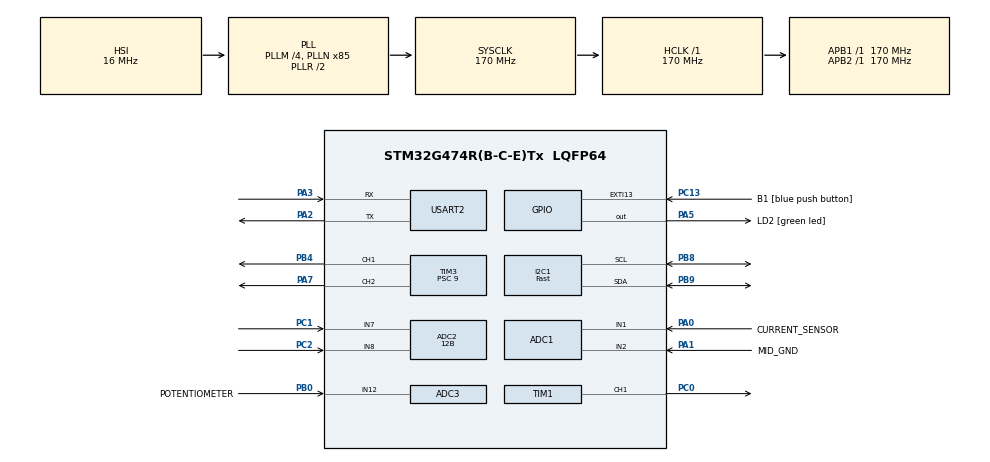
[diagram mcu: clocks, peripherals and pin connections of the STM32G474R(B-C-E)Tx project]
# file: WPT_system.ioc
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ADC1.Channel-1\#ChannelRegularConversion=ADC_CHANNEL_1
ADC1.ContinuousConvMode=DISABLE
ADC1.DMAContinuousRequests=DISABLE
ADC1.DataAlign=ADC_DATAALIGN_RIGHT
ADC1.EnableInjectedConversion=DISABLE
ADC1.ExternalTrigConv=ADC_EXTERNALTRIG_T1_CC1
ADC1.ExternalTrigConvEdge=ADC_EXTERNALTRIGCONVEDGE_RISINGFALLING
ADC1.GainCompensation=0
ADC1.NbrOfConversion=1
ADC1.NbrOfConversionFlag=1
ADC1.Offset-1\#ChannelRegularConversion=2325
ADC1.OffsetNumber-1\#ChannelRegularConversion=ADC_OFFSET_1
ADC1.Rank-1\#ChannelRegularConversion=1
ADC1.SamplingTime-1\#ChannelRegularConversion=ADC_SAMPLETIME_2CYCLES_5
ADC1.SingleDiff-1\#ChannelRegularConversion=ADC_DIFFERENTIAL_ENDED
ADC1.master=1
ADC2.Channel-2\#ChannelRegularConversion=ADC_CHANNEL_7
ADC2.DataAlign=ADC_DATAALIGN_RIGHT
ADC2.ExternalTrigConv=ADC_EXTERNALTRIG_T1_CC1
ADC2.ExternalTrigConvEdge=ADC_EXTERNALTRIGCONVEDGE_RISINGFALLING
ADC2.NbrOfConversionFlag=1
ADC2.Offset-2\#ChannelRegularConversion=2040
ADC2.OffsetNumber-2\#ChannelRegularConversion=ADC_OFFSET_1
ADC2.Rank-2\#ChannelRegularConversion=1
ADC2.Resolution=ADC_RESOLUTION_12B
ADC2.SamplingTime-2\#ChannelRegularConversion=ADC_SAMPLETIME_2CYCLES_5
ADC2.SingleDiff-2\#ChannelRegularConversion=ADC_DIFFERENTIAL_ENDED
ADC3.Channel-0\#ChannelRegularConversion=ADC_CHANNEL_12
ADC3.DataAlign=ADC_DATAALIGN_RIGHT
ADC3.NbrOfConversionFlag=1
ADC3.OffsetNumber-0\#ChannelRegularConversion=ADC_OFFSET_NONE
ADC3.Rank-0\#ChannelRegularConversion=1
ADC3.SamplingTime-0\#ChannelRegularConversion=ADC_SAMPLETIME_2CYCLES_5
ADC3.master=1
Dma.ADC1.0.Direction=DMA_PERIPH_TO_MEMORY
Dma.ADC1.0.EventEnable=DISABLE
Dma.ADC1.0.Instance=DMA1_Channel1
Dma.ADC1.0.MemDataAlignment=DMA_MDATAALIGN_HALFWORD
Dma.ADC1.0.MemInc=DMA_MINC_ENABLE
Dma.ADC1.0.Mode=DMA_NORMAL
Dma.ADC1.0.PeriphDataAlignment=DMA_PDATAALIGN_HALFWORD
Dma.ADC1.0.PeriphInc=DMA_PINC_DISABLE
Dma.ADC1.0.Polarity=HAL_DMAMUX_REQ_GEN_RISING
Dma.ADC1.0.Priority=DMA_PRIORITY_VERY_HIGH
Dma.ADC1.0.RequestNumber=1
Dma.ADC1.0.SignalID=NONE
Dma.ADC1.0.SyncEnable=DISABLE
Dma.ADC1.0.SyncPolarity=HAL_DMAMUX_SYNC_NO_EVENT
Dma.ADC1.0.SyncRequestNumber=1
Dma.ADC1.0.SyncSignalID=NONE
Dma.ADC2.1.Direction=DMA_PERIPH_TO_MEMORY
Dma.ADC2.1.EventEnable=DISABLE
Dma.ADC2.1.Instance=DMA2_Channel1
Dma.ADC2.1.MemDataAlignment=DMA_MDATAALIGN_HALFWORD
Dma.ADC2.1.MemInc=DMA_MINC_ENABLE
Dma.ADC2.1.Mode=DMA_NORMAL
Dma.ADC2.1.PeriphDataAlignment=DMA_PDATAALIGN_HALFWORD
Dma.ADC2.1.PeriphInc=DMA_PINC_DISABLE
Dma.ADC2.1.Polarity=HAL_DMAMUX_REQ_GEN_RISING
Dma.ADC2.1.Priority=DMA_PRIORITY_HIGH
Dma.ADC2.1.RequestNumber=1
Dma.ADC2.1.SignalID=NONE
Dma.ADC2.1.SyncEnable=DISABLE
Dma.ADC2.1.SyncPolarity=HAL_DMAMUX_SYNC_NO_EVENT
Dma.ADC2.1.SyncRequestNumber=1
Dma.ADC2.1.SyncSignalID=NONE
Dma.Request0=ADC1
Dma.Request1=ADC2
I2C1.Analog_Filter=I2C_ANALOGFILTER_DISABLE
I2C1.CustomTiming=Disabled
I2C1.I2C_Speed_Mode=I2C_Fast
I2C1.Speed=400
I2C1.Timing=0x108031A0
Mcu.Family=STM32G4
Mcu.Name=STM32G474R(B-C-E)Tx
Mcu.Package=LQFP64
NVIC.DMA1_Channel1_IRQn=true\:0\:0\:false\:false\:true\:false\:true\:true
NVIC.DMA2_Channel1_IRQn=true\:0\:0\:false\:false\:true\:false\:true\:true
NVIC.EXTI15_10_IRQn=true\:0\:0\:false\:false\:true\:true\:true\:true
NVIC.PriorityGroup=NVIC_PRIORITYGROUP_4
NVIC.TIM1_CC_IRQn=true\:0\:0\:false\:false\:true\:true\:true\:true
NVIC.TIM3_IRQn=true\:0\:0\:false\:false\:true\:true\:true\:true
PA0.GPIO_Label=CURRENT_SENSOR
PA0.Mode=IN1-Differential
PA0.Signal=ADC1_IN1
PA1.GPIO_Label=MID_GND
PA1.Mode=IN1-Differential
PA1.Signal=ADC1_IN2
PA13.GPIO_Label=T_SWDIO
PA13.Mode=JTAG_4_pins
PA13.Signal=SYS_JTMS-SWDIO
PA14.GPIO_Label=T_SWCLK
PA14.Mode=JTAG_4_pins
PA14.Signal=SYS_JTCK-SWCLK
PA15.Mode=JTAG_4_pins
PA15.Signal=SYS_JTDI
PA2.Mode=Asynchronous
PA2.Signal=USART2_TX
PA3.Mode=Asynchronous
PA3.Signal=USART2_RX
PA5.GPIO_Label=LD2 [green led]
PA5.Signal=GPIO_Output
PA7.GPIO_Speed=GPIO_SPEED_FREQ_HIGH
PA7.Signal=S_TIM3_CH2
PB0.GPIO_Label=POTENTIOMETER
PB0.Mode=IN12-Single-Ended
PB0.Signal=ADC3_IN12
PB3.Mode=JTAG_4_pins
PB3.Signal=SYS_JTDO-SWO
PB4.GPIO_PuPd=GPIO_PULLDOWN
PB4.GPIO_Speed=GPIO_SPEED_FREQ_HIGH
PB4.Signal=S_TIM3_CH1
PB8-BOOT0.Mode=I2C
PB8-BOOT0.Signal=I2C1_SCL
PB9.Mode=I2C
PB9.Signal=I2C1_SDA
PC0.Signal=S_TIM1_CH1
PC1.Mode=IN7-Differential
PC1.Signal=ADC2_IN7
PC13.GPIO_Label=B1 [blue push button]
PC13.Signal=GPXTI13
PC14-OSC32_IN.Mode=LSE-External-Oscillator
PC14-OSC32_IN.Signal=RCC_OSC32_IN
PC15-OSC32_OUT.Mode=LSE-External-Oscillator
PC15-OSC32_OUT.Signal=RCC_OSC32_OUT
PC2.Mode=IN7-Differential
PC2.Signal=ADC2_IN8
PF0-OSC_IN.Mode=HSE-External-Oscillator
PF0-OSC_IN.Signal=RCC_OSC_IN
PF1-OSC_OUT.Mode=HSE-External-Oscillator
PF1-OSC_OUT.Signal=RCC_OSC_OUT
ProjectManager.HeapSize=0x800
ProjectManager.StackSize=0x800
ProjectManager.TargetToolchain=STM32CubeIDE
RCC.ADC12Freq_Value=170000000
RCC.ADC345Freq_Value=170000000
RCC.AHBFreq_Value=170000000
RCC.APB1Freq_Value=170000000
RCC.APB1TimFreq_Value=170000000
RCC.APB2Freq_Value=170000000
RCC.APB2TimFreq_Value=170000000
RCC.CortexFreq_Value=170000000
RCC.EXTERNAL_CLOCK_VALUE=12288000
RCC.HCLKFreq_Value=170000000
RCC.HSE_VALUE=24000000
RCC.HSI48_VALUE=48000000
RCC.HSI_VALUE=16000000
RCC.PLLM=RCC_PLLM_DIV4
RCC.PLLN=85
RCC.RTCClockSelection=RCC_RTCCLKSOURCE_LSE
RCC.SYSCLKFreq_VALUE=170000000
RCC.SYSCLKSource=RCC_SYSCLKSOURCE_PLLCLK
RCC.USBFreq_Value=170000000
RCC.VCOOutputFreq_Value=340000000
SH.S_TIM1_CH1.0=TIM1_CH1,Output Compare1 CH1
SH.S_TIM3_CH1.0=TIM3_CH1,Output Compare1 CH1
SH.S_TIM3_CH2.0=TIM3_CH2,Output Compare2 CH2
STMicroelectronics.X-CUBE-AI.8.1.0.ActivationBufferSizeList=3828
STMicroelectronics.X-CUBE-AI.8.1.0.ActivationBuffers=pool0
STMicroelectronics.X-CUBE-AI.8.1.0.ActivationNames=pool0
STMicroelectronics.X-CUBE-AI.8.1.0.ActivationSizes=AI_NETWORK_DATA_ACTIVATION_1_SIZE
STMicroelectronics.X-CUBE-AI.8.1.0.HeapSize=0x800
STMicroelectronics.X-CUBE-AI.8.1.0.InternalRamActivationBufferMaxSize=AI_NETWORK_DATA_ACTIVATIONS_SIZE
STMicroelectronics.X-CUBE-AI.8.1.0.LatestDirectoryUsed-3ebb29efe24455d08ac401c08bdaad620ac2d7e26c9eb38f09bf857264b2c358=C\:\\Users\\thoma\\Documents\\GitHub\\Wireless-power-transfer-system_nucleo\\neural_network
STMicroelectronics.X-CUBE-AI.8.1.0.MaximumNumberOfInputLayer=1
STMicroelectronics.X-CUBE-AI.8.1.0.MaximumNumberOfOutputLayer=1
STMicroelectronics.X-CUBE-AI.8.1.0.MaximumSizeOfInputLayer=1
STMicroelectronics.X-CUBE-AI.8.1.0.MaximumSizeOfOutputLayer=1
STMicroelectronics.X-CUBE-AI.8.1.0.ModelActualCompression-3ebb29efe24455d08ac401c08bdaad620ac2d7e26c9eb38f09bf857264b2c358=0.0
STMicroelectronics.X-CUBE-AI.8.1.0.ModelCompression-3ebb29efe24455d08ac401c08bdaad620ac2d7e26c9eb38f09bf857264b2c358=None
STMicroelectronics.X-CUBE-AI.8.1.0.ModelFlashOccupation-3ebb29efe24455d08ac401c08bdaad620ac2d7e26c9eb38f09bf857264b2c358=226208
STMicroelectronics.X-CUBE-AI.8.1.0.ModelHashList=3ebb29efe24455d08ac401c08bdaad620ac2d7e26c9eb38f09bf857264b2c358
STMicroelectronics.X-CUBE-AI.8.1.0.ModelKind-3ebb29efe24455d08ac401c08bdaad620ac2d7e26c9eb38f09bf857264b2c358=ONNX
STMicroelectronics.X-CUBE-AI.8.1.0.ModelMacc-3ebb29efe24455d08ac401c08bdaad620ac2d7e26c9eb38f09bf857264b2c358=54274
STMicroelectronics.X-CUBE-AI.8.1.0.ModelName-3ebb29efe24455d08ac401c08bdaad620ac2d7e26c9eb38f09bf857264b2c358=network
STMicroelectronics.X-CUBE-AI.8.1.0.ModelNameList=network
STMicroelectronics.X-CUBE-AI.8.1.0.ModelRamOccupation-3ebb29efe24455d08ac401c08bdaad620ac2d7e26c9eb38f09bf857264b2c358=3828
STMicroelectronics.X-CUBE-AI.8.1.0.ModelStructureFile-3ebb29efe24455d08ac401c08bdaad620ac2d7e26c9eb38f09bf857264b2c358=C\:\\Users\\thoma\\Documents\\GitHub\\Wireless-power-transfer-system_nucleo\\neural_network\\model.onnx
STMicroelectronics.X-CUBE-AI.8.1.0.ModelType-3ebb29efe24455d08ac401c08bdaad620ac2d7e26c9eb38f09bf857264b2c358=Saved model
STMicroelectronics.X-CUBE-AI.8.1.0.ReadyForCodeGeneration=true
STMicroelectronics.X-CUBE-AI.8.1.0.StackSize=0x800
STMicroelectronics.X-CUBE-AI.8.1.0.WorkingBufferStartAddrList=0xFFFFFFFF
STMicroelectronics.X-CUBE-AI.8.1.0.XAaCUBEAaAICcArtificialOoIntelligenceJjCore=true
STMicroelectronics.X-CUBE-AI.8.1.0.copyWeightToRam=false
STMicroelectronics.X-CUBE-AI.8.1.0.copyWeightToRam-3ebb29efe24455d08ac401c08bdaad620ac2d7e26c9eb38f09bf857264b2c358=false
STMicroelectronics.X-CUBE-AI.8.1.0.customLayerConfigEnabled=false
STMicroelectronics.X-CUBE-AI.8.1.0.customLayerConfigEnabled-3ebb29efe24455d08ac401c08bdaad620ac2d7e26c9eb38f09bf857264b2c358=false
STMicroelectronics.X-CUBE-AI.8.1.0.noOnnxIoTranspose=false
STMicroelectronics.X-CUBE-AI.8.1.0.noOnnxIoTranspose-3ebb29efe24455d08ac401c08bdaad620ac2d7e26c9eb38f09bf857264b2c358=false
STMicroelectronics.X-CUBE-AI.8.1.0.useInputAllocation=true
STMicroelectronics.X-CUBE-AI.8.1.0.useInputAllocation-3ebb29efe24455d08ac401c08bdaad620ac2d7e26c9eb38f09bf857264b2c358=true
STMicroelectronics.X-CUBE-AI.8.1.0.useOutputAllocation=true
STMicroelectronics.X-CUBE-AI.8.1.0.useOutputAllocation-3ebb29efe24455d08ac401c08bdaad620ac2d7e26c9eb38f09bf857264b2c358=true
TIM1.AutoReloadPreload=TIM_AUTORELOAD_PRELOAD_ENABLE
TIM1.Channel-Output\ Compare1\ CH1=TIM_CHANNEL_1
TIM1.OC1Preload=ENABLE
TIM1.OCMode_1=TIM_OCMODE_TOGGLE
TIM1.PeriodNoDither=170-1
TIM1.TIM_MasterOutputTrigger=TIM_TRGO_UPDATE
TIM3.AutoReloadPreload=TIM_AUTORELOAD_PRELOAD_ENABLE
TIM3.Channel-Output\ Compare1\ CH1=TIM_CHANNEL_1
TIM3.Channel-Output\ Compare2\ CH2=TIM_CHANNEL_2
TIM3.OC1Preload=ENABLE
TIM3.OC2Preload=ENABLE
TIM3.OCMode_1=TIM_OCMODE_TOGGLE
TIM3.OCMode_2=TIM_OCMODE_TOGGLE
TIM3.PeriodNoDither=99
TIM3.Prescaler=9
USART2.VirtualMode-Asynchronous=VM_ASYNC
VP_CRC_VS_CRC.Mode=CRC_Activate
VP_STMicroelectronics.X-CUBE-AI_VS_ArtificialOoIntelligenceJjXAaCUBEAaAI_8.1.0.Mode=ArtificialOoIntelligenceJjXAaCUBEAaAI
VP_SYS_VS_DBSignals.Mode=DisableDeadBatterySignals
VP_TIM1_VS_ClockSourceINT.Mode=Internal
VP_TIM3_VS_ClockSourceINT.Mode=Internal
board=NUCLEO-G474RE

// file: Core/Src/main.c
/* USER CODE BEGIN Header */
/**
 ******************************************************************************
 * @file           : main.c
 * @brief          : Main program body
 ******************************************************************************
 * @attention
 *
 * Copyright (c) 2024 STMicroelectronics.
 * All rights reserved.
 *
 * This software is licensed under terms that can be found in the LICENSE file
 * in the root directory of this software component.
 * If no LICENSE file comes with this software, it is provided AS-IS.
 *
 ******************************************************************************
 */
/* USER CODE END Header */
#include "main.h"

/* USER CODE BEGIN Includes */
#include <stdint.h>
#include <stdio.h>
#include <stdlib.h>
#include <string.h>
// #include "../../Drivers/kiss_fft/kiss_fft.h"
// #include "../../Drivers/kiss_fft/kiss_fftr.h"
#define ARM_MATH_CM4
#include "arm_math.h"

// #include <math.h>
#include "../../X-CUBE-AI/App/network.h"
#include "../../X-CUBE-AI/App/network_data.h"
#include "../../Drivers/u8g2/u8g2.h"
/* USER CODE END Includes */

/* USER CODE BEGIN PD */
// #define PI 3.14159265358979323846264338327
#define SIG_BUFF_LEN 4096
#define FFT_BUFF_LEN (SIG_BUFF_LEN / 2)
#define OFFSET 6        // offset between I and V (6e-6 in this case)
#define Te 0.000001     // Sampling period
#define L1 0.000024     // Primary coil impedance in H
#define R1 0.075        // Coil ESR in Ohm
#define C1 0.000000146  // Capacitor value in F
#define SQRT_L1L2_uH 24 // sqrt of L1 * L2 in µH
#define Vcc 10          // V bus voltage in volt

#define Qi 6.6 / 494 / 0.001 * 1.42 * 32768 / (4095) // Current quantization factor in ampere per bit
#define Qv Vcc * 32768 / (2000)                      // Voltage quantization factor in volt per bit

#define DEVICE_ADDRESS 0b0111100
#define TX_TIMEOUT 100

// #define SEND_DATA

/* USER CODE END PD */

ADC_HandleTypeDef hadc1;
ADC_HandleTypeDef hadc2;
ADC_HandleTypeDef hadc3;
DMA_HandleTypeDef hdma_adc1;
DMA_HandleTypeDef hdma_adc2;

CRC_HandleTypeDef hcrc;

I2C_HandleTypeDef hi2c1;

TIM_HandleTypeDef htim1;
TIM_HandleTypeDef htim3;

UART_HandleTypeDef huart2;

/* USER CODE BEGIN PV */
volatile uint16_t PHASE_SHIFT = 0;
volatile uint8_t PRBS_ACTIVE = 0;
volatile uint16_t PRBS_period = (1 << 10) - 1;
volatile uint8_t BP_STATE_OLD = 0;
volatile uint8_t PRBS_AMPLITUDE = 20;
volatile uint8_t NOISE_ACTIVE = 0;
volatile uint8_t COMPUTE_ACTIVE = 0;

int16_t raw_current_sig[SIG_BUFF_LEN + OFFSET + 15];
int16_t raw_voltage_sig[SIG_BUFF_LEN + OFFSET + 15];
float_t current_sig[SIG_BUFF_LEN + OFFSET + 15];
float_t voltage_sig[SIG_BUFF_LEN + OFFSET + 15];
float_t fft_current[SIG_BUFF_LEN];
float_t fft_voltage[SIG_BUFF_LEN];
float_t impedance[2 * FFT_BUFF_LEN];

uint16_t index_list[] = {205, 221, 238, 257, 277, 299, 323, 348, 376, 405, 437, 471, 509, 549, 592};
uint8_t filtering_low_index_list[] = {11, 12, 13, 14, 15, 16, 18, 19, 21, 22, 24, 26, 28, 31, 33};
uint8_t filtering_high_index_list[] = {12, 13, 14, 15, 16, 17, 19, 20, 22, 24, 26, 28, 30, 32, 35};

arm_rfft_fast_instance_f32 fft_handler; // 32 floating point fft

/*################# AI declaration ################### */
/* Global handle to reference the instantiated C-model */
static ai_handle network = AI_HANDLE_NULL;

/* Global c-array to handle the activations buffer */
AI_ALIGNED(32)
static ai_u8 activations[AI_NETWORK_DATA_ACTIVATIONS_SIZE];

/* Array to store the data of the input tensor */
AI_ALIGNED(32)
static ai_float in_data[AI_NETWORK_IN_1_SIZE];
/* or static ai_u8 in_data[AI_NETWORK_IN_1_SIZE_BYTES]; */

/* c-array to store the data of the output tensor */
AI_ALIGNED(32)
static ai_float out_data[AI_NETWORK_OUT_1_SIZE];
/*or static ai_u8 out_data[AI_NETWORK_OUT_1_SIZE_BYTES]; */

/* Array of pointer to manage the model's input/output tensors */
static ai_buffer *ai_input;
static ai_buffer *ai_output;

static u8g2_t u8g2;

/* USER CODE END PV */

void SystemClock_Config(void);
static void MX_GPIO_Init(void);
static void MX_DMA_Init(void);
static void MX_ADC1_Init(void);
static void MX_TIM3_Init(void);
static void MX_CRC_Init(void);
static void MX_ADC3_Init(void);
static void MX_TIM1_Init(void);
static void MX_ADC2_Init(void);
static void MX_USART2_UART_Init(void);
static void MX_I2C1_Init(void);
/* USER CODE BEGIN PFP */

static int8_t PRBS();

int aiInit(void);
int aiRun(const void *in_data, void *out_data);

float_t delinearize_R(float_t);
float_t delinearize_M(float_t);

u8x8_msg_cb u8x8_stm32_gpio_and_delay(u8x8_t *, uint8_t, uint8_t, void *);
u8x8_msg_cb u8x8_byte_stm32_hw_i2c(u8x8_t *, uint8_t, uint8_t, void *);

void display_oled(float_t, float_t);

/* USER CODE END PFP */

int main(void)
{

  /* MCU Configuration--------------------------------------------------------*/

  /* Reset of all peripherals, Initializes the Flash interface and the Systick. */
  HAL_Init();

  /* Configure the system clock */
  SystemClock_Config();

  /* Initialize all configured peripherals */
  MX_GPIO_Init();
  MX_DMA_Init();
  MX_ADC1_Init();
  MX_TIM3_Init();
  MX_CRC_Init();
  MX_ADC3_Init();
  MX_TIM1_Init();
  MX_ADC2_Init();
  MX_USART2_UART_Init();
  MX_I2C1_Init();
  /* USER CODE BEGIN 2 */

  HAL_ADCEx_Calibration_Start(&hadc3, POTENTIOMETER_Pin);

  __HAL_RCC_CRC_CLK_ENABLE();

  arm_rfft_fast_init_f32(&fft_handler, SIG_BUFF_LEN);

  aiInit();

  u8g2_Setup_ssd1306_i2c_128x64_noname_1(&u8g2, U8G2_R0, (u8x8_msg_cb)u8x8_byte_stm32_hw_i2c, (u8x8_msg_cb)u8x8_stm32_gpio_and_delay); // init u8g2 structure
  u8g2_InitDisplay(&u8g2);                                                                                                             // send init sequence to the display, display is in sleep mode after this,
  u8g2_SetPowerSave(&u8g2, 0);                                                                                                         // wake up display
  u8g2_ClearDisplay(&u8g2);
  u8g2_SetFont(&u8g2, u8g2_font_6x13_mf);
  do
  {
    u8g2_DrawStr(&u8g2, 6, 14, "Press USER to start");
    u8g2_DrawFrame(&u8g2, 50 - 12, 35 - 12, 25, 25);
    u8g2_DrawCircle(&u8g2, 50, 35, 8, U8G2_DRAW_ALL);
    u8g2_DrawLine(&u8g2, 68, 35, 95, 35);
    u8g2_DrawLine(&u8g2, 68, 35, 78, 30);
    u8g2_DrawLine(&u8g2, 68, 35, 78, 40);
    u8g2_DrawStr(&u8g2, 39, 60, "USER");
  } while (u8g2_NextPage(&u8g2));

  /* USER CODE END 2 */

  /* Infinite loop */
  /* USER CODE BEGIN WHILE */
  while (1)
  {
    // State machine to control the identification prcedure
    if (!PRBS_ACTIVE)
    {
      // Read Potentiometer to set phase shift
      HAL_ADC_Start(&hadc3);
      HAL_ADC_PollForConversion(&hadc3, 1);
      uint16_t ADC_VAL = HAL_ADC_GetValue(&hadc3);
      PHASE_SHIFT = ADC_VAL * 100 / (1 << 12);
      HAL_Delay(1);
    }

    if (HAL_GPIO_ReadPin(B1_GPIO_Port, B1_Pin) & !BP_STATE_OLD & !COMPUTE_ACTIVE)
    {

      u8g2_ClearDisplay(&u8g2);
      u8g2_SetFont(&u8g2, u8g2_font_6x13_mf);
      do
      {
        u8g2_DrawStr(&u8g2, 5, 30, "Computing parameters");
        u8g2_DrawStr(&u8g2, 24, 50, "Please wait...");
      } while (u8g2_NextPage(&u8g2));

      PRBS_ACTIVE = 1;
      BP_STATE_OLD = 1;
    }
    else if ((!HAL_GPIO_ReadPin(B1_GPIO_Port, B1_Pin)) & (BP_STATE_OLD))
    {

      BP_STATE_OLD = 0;
    }
    if (COMPUTE_ACTIVE)
    {

      /* 			Signals	Scaling			*/

      HAL_GPIO_WritePin(LD2_GPIO_Port, LD2_Pin, ENABLE);

      arm_q15_to_float(raw_current_sig, current_sig, SIG_BUFF_LEN + OFFSET + 15);
      arm_q15_to_float(raw_voltage_sig, voltage_sig, SIG_BUFF_LEN + OFFSET + 15);

      arm_scale_f32(current_sig, Qi, current_sig, SIG_BUFF_LEN + OFFSET + 15);
      arm_scale_f32(voltage_sig, Qv, voltage_sig, SIG_BUFF_LEN + OFFSET + 15);

      HAL_GPIO_WritePin(LD2_GPIO_Port, LD2_Pin, DISABLE);

      /* 			Send the signals via UART		*/

#ifdef SEND_DATA
		char message[100];
		sprintf(message, "index,nc,nv\n");
		HAL_UART_Transmit(&huart2,(uint8_t *) message, strlen(message), 100);
		for(uint16_t i = 0; i <SIG_BUFF_LEN; i++){
			sprintf(message, "%d,%f,%f\n",i, current_sig[i+OFFSET+5],voltage_sig[i+5]);
			// sprintf(message, "%d,%ld,%ld\n",i, raw_current_sig[i+OFFSET+5],raw_voltage_sig[i+5]);
			HAL_UART_Transmit(&huart2, (uint8_t *) message, strlen(message), 100);
		}
#endif

      /* 			Compute FFT of the signals			*/

      arm_rfft_fast_f32(&fft_handler, (float_t *)current_sig + OFFSET + 5, fft_current, 0);
      arm_rfft_fast_f32(&fft_handler, (float_t *)voltage_sig + 5, fft_voltage, 0);

      /* 			Computing of the raw impedance			*/

      HAL_GPIO_WritePin(LD2_GPIO_Port, LD2_Pin, ENABLE);

      for (int i = 0; i < FFT_BUFF_LEN; i++)
      {
        float_t v_r = fft_voltage[2 * i];
        float_t v_i = fft_voltage[2 * i + 1];
        float_t c_r = fft_current[2 * i];
        float_t c_i = fft_current[2 * i + 1];
        float_t norm = c_r * c_r + c_i * c_i;
        impedance[2 * i] = (v_r * c_r + v_i * c_i) / norm;
        impedance[2 * i + 1] = (v_i * c_r - v_r * c_i) / norm;
      }

      HAL_GPIO_WritePin(LD2_GPIO_Port, LD2_Pin, DISABLE);

      /* 				Send the impedance via UART			*/

#ifdef SEND_DATA
		HAL_Delay(500);
		sprintf(message, "index,impedance_r,impedance_i\n");
		HAL_UART_Transmit(&huart2, (uint8_t *)message, strlen(message), 100);
		for (uint16_t i = 0; i < FFT_BUFF_LEN; i++)
		{
		  sprintf(message, "%d,%f,%f\n", i, impedance[2*i], impedance[2*i+1]);
		  HAL_UART_Transmit(&huart2, (uint8_t *)message, strlen(message), 100);
		}
#endif

      /* 				Compute the input tensor				*/

      for (uint16_t i = 0; i < 15; i++)
      {
        in_data[i * 2] = 0;
        in_data[i * 2 + 1] = 0;
        for (int j = index_list[i] - filtering_low_index_list[i]; j < index_list[i] + filtering_high_index_list[i] + 1; j++)
        {
          float_t mag;
          arm_sqrt_f32(impedance[2 * j] * impedance[2 * j] + impedance[2 * j + 1] * impedance[2 * j + 1], &mag);
          in_data[i * 2] += mag;
          in_data[i * 2 + 1] += (impedance[2 * j] == 0) ? PI * (signbit((float_t)impedance[2 * j + 1]) * -1) : atan2(impedance[2 * j + 1], impedance[2 * j]);
        }
        in_data[i * 2] /= (filtering_low_index_list[i] + filtering_high_index_list[i] + 1);
        in_data[i * 2 + 1] /= (filtering_low_index_list[i] + filtering_high_index_list[i] + 1);
      }

      /* 			Send the input tensor via UART				*/

#ifdef SEND_DATA
		HAL_Delay(500);
		sprintf(message, "index,value\n");
		HAL_UART_Transmit(&huart2, (uint8_t *)message, strlen(message), 100);
		for (uint16_t i = 0; i < 30; i++)
		{
		  sprintf(message, "%d,%f\n", i , in_data[i]);
		  HAL_UART_Transmit(&huart2, (uint8_t *)message, strlen(message), 100);

		}
#endif

      /* 			Compute neural network inference			*/

      HAL_GPIO_WritePin(LD2_GPIO_Port, LD2_Pin, ENABLE);
      aiRun(in_data, out_data);

      float_t R_lin = out_data[0];
      float_t M_lin = out_data[1];

      float_t R = delinearize_R(R_lin);
      float_t M = delinearize_M(M_lin);
      HAL_GPIO_WritePin(LD2_GPIO_Port, LD2_Pin, DISABLE);
      display_oled(R, M);

      COMPUTE_ACTIVE = 0;
    }
    /* USER CODE END WHILE */

  }
}

void SystemClock_Config(void)
{
  RCC_OscInitTypeDef RCC_OscInitStruct = {0};
  RCC_ClkInitTypeDef RCC_ClkInitStruct = {0};

  /** Configure the main internal regulator output voltage
   */
  HAL_PWREx_ControlVoltageScaling(PWR_REGULATOR_VOLTAGE_SCALE1_BOOST);

  /** Initializes the RCC Oscillators according to the specified parameters
   * in the RCC_OscInitTypeDef structure.
   */
  RCC_OscInitStruct.OscillatorType = RCC_OSCILLATORTYPE_HSI;
  RCC_OscInitStruct.HSIState = RCC_HSI_ON;
  RCC_OscInitStruct.HSICalibrationValue = RCC_HSICALIBRATION_DEFAULT;
  RCC_OscInitStruct.PLL.PLLState = RCC_PLL_ON;
  RCC_OscInitStruct.PLL.PLLSource = RCC_PLLSOURCE_HSI;
  RCC_OscInitStruct.PLL.PLLM = RCC_PLLM_DIV4;
  RCC_OscInitStruct.PLL.PLLN = 85;
  RCC_OscInitStruct.PLL.PLLP = RCC_PLLP_DIV2;
  RCC_OscInitStruct.PLL.PLLQ = RCC_PLLQ_DIV2;
  RCC_OscInitStruct.PLL.PLLR = RCC_PLLR_DIV2;
  if (HAL_RCC_OscConfig(&RCC_OscInitStruct) != HAL_OK)
  {
    Error_Handler();
  }

  /** Initializes the CPU, AHB and APB buses clocks
   */
  RCC_ClkInitStruct.ClockType = RCC_CLOCKTYPE_HCLK | RCC_CLOCKTYPE_SYSCLK | RCC_CLOCKTYPE_PCLK1 | RCC_CLOCKTYPE_PCLK2;
  RCC_ClkInitStruct.SYSCLKSource = RCC_SYSCLKSOURCE_PLLCLK;
  RCC_ClkInitStruct.AHBCLKDivider = RCC_SYSCLK_DIV1;
  RCC_ClkInitStruct.APB1CLKDivider = RCC_HCLK_DIV1;
  RCC_ClkInitStruct.APB2CLKDivider = RCC_HCLK_DIV1;

  if (HAL_RCC_ClockConfig(&RCC_ClkInitStruct, FLASH_LATENCY_4) != HAL_OK)
  {
    Error_Handler();
  }
}

static void MX_ADC1_Init(void)
{

  ADC_MultiModeTypeDef multimode = {0};
  ADC_ChannelConfTypeDef sConfig = {0};

  /** Common config
   */
  hadc1.Instance = ADC1;
  hadc1.Init.ClockPrescaler = ADC_CLOCK_SYNC_PCLK_DIV4;
  hadc1.Init.Resolution = ADC_RESOLUTION_12B;
  hadc1.Init.DataAlign = ADC_DATAALIGN_RIGHT;
  hadc1.Init.GainCompensation = 0;
  hadc1.Init.ScanConvMode = ADC_SCAN_DISABLE;
  hadc1.Init.EOCSelection = ADC_EOC_SINGLE_CONV;
  hadc1.Init.LowPowerAutoWait = DISABLE;
  hadc1.Init.ContinuousConvMode = DISABLE;
  hadc1.Init.NbrOfConversion = 1;
  hadc1.Init.DiscontinuousConvMode = DISABLE;
  hadc1.Init.ExternalTrigConv = ADC_EXTERNALTRIG_T1_CC1;
  hadc1.Init.ExternalTrigConvEdge = ADC_EXTERNALTRIGCONVEDGE_RISINGFALLING;
  hadc1.Init.DMAContinuousRequests = DISABLE;
  hadc1.Init.Overrun = ADC_OVR_DATA_PRESERVED;
  hadc1.Init.OversamplingMode = DISABLE;
  if (HAL_ADC_Init(&hadc1) != HAL_OK)
  {
    Error_Handler();
  }

  /** Configure the ADC multi-mode
   */
  multimode.Mode = ADC_MODE_INDEPENDENT;
  if (HAL_ADCEx_MultiModeConfigChannel(&hadc1, &multimode) != HAL_OK)
  {
    Error_Handler();
  }

  /** Configure Regular Channel
   */
  sConfig.Channel = ADC_CHANNEL_1;
  sConfig.Rank = ADC_REGULAR_RANK_1;
  sConfig.SamplingTime = ADC_SAMPLETIME_2CYCLES_5;
  sConfig.SingleDiff = ADC_DIFFERENTIAL_ENDED;
  sConfig.OffsetNumber = ADC_OFFSET_1;
  sConfig.Offset = 2325;
  sConfig.OffsetSign = ADC_OFFSET_SIGN_NEGATIVE;
  sConfig.OffsetSaturation = DISABLE;
  if (HAL_ADC_ConfigChannel(&hadc1, &sConfig) != HAL_OK)
  {
    Error_Handler();
  }
}

static void MX_ADC2_Init(void)
{

  ADC_ChannelConfTypeDef sConfig = {0};

  /** Common config
   */
  hadc2.Instance = ADC2;
  hadc2.Init.ClockPrescaler = ADC_CLOCK_SYNC_PCLK_DIV4;
  hadc2.Init.Resolution = ADC_RESOLUTION_12B;
  hadc2.Init.DataAlign = ADC_DATAALIGN_RIGHT;
  hadc2.Init.GainCompensation = 0;
  hadc2.Init.ScanConvMode = ADC_SCAN_DISABLE;
  hadc2.Init.EOCSelection = ADC_EOC_SINGLE_CONV;
  hadc2.Init.LowPowerAutoWait = DISABLE;
  hadc2.Init.ContinuousConvMode = DISABLE;
  hadc2.Init.NbrOfConversion = 1;
  hadc2.Init.DiscontinuousConvMode = DISABLE;
  hadc2.Init.ExternalTrigConv = ADC_EXTERNALTRIG_T1_CC1;
  hadc2.Init.ExternalTrigConvEdge = ADC_EXTERNALTRIGCONVEDGE_RISINGFALLING;
  hadc2.Init.DMAContinuousRequests = DISABLE;
  hadc2.Init.Overrun = ADC_OVR_DATA_PRESERVED;
  hadc2.Init.OversamplingMode = DISABLE;
  if (HAL_ADC_Init(&hadc2) != HAL_OK)
  {
    Error_Handler();
  }

  /** Configure Regular Channel
   */
  sConfig.Channel = ADC_CHANNEL_7;
  sConfig.Rank = ADC_REGULAR_RANK_1;
  sConfig.SamplingTime = ADC_SAMPLETIME_2CYCLES_5;
  sConfig.SingleDiff = ADC_DIFFERENTIAL_ENDED;
  sConfig.OffsetNumber = ADC_OFFSET_1;
  sConfig.Offset = 2040;
  sConfig.OffsetSign = ADC_OFFSET_SIGN_NEGATIVE;
  sConfig.OffsetSaturation = DISABLE;
  if (HAL_ADC_ConfigChannel(&hadc2, &sConfig) != HAL_OK)
  {
    Error_Handler();
  }
}

static void MX_ADC3_Init(void)
{

  ADC_MultiModeTypeDef multimode = {0};
  ADC_ChannelConfTypeDef sConfig = {0};

  /** Common config
   */
  hadc3.Instance = ADC3;
  hadc3.Init.ClockPrescaler = ADC_CLOCK_SYNC_PCLK_DIV4;
  hadc3.Init.Resolution = ADC_RESOLUTION_12B;
  hadc3.Init.DataAlign = ADC_DATAALIGN_RIGHT;
  hadc3.Init.GainCompensation = 0;
  hadc3.Init.ScanConvMode = ADC_SCAN_DISABLE;
  hadc3.Init.EOCSelection = ADC_EOC_SINGLE_CONV;
  hadc3.Init.LowPowerAutoWait = DISABLE;
  hadc3.Init.ContinuousConvMode = DISABLE;
  hadc3.Init.NbrOfConversion = 1;
  hadc3.Init.DiscontinuousConvMode = DISABLE;
  hadc3.Init.ExternalTrigConv = ADC_SOFTWARE_START;
  hadc3.Init.ExternalTrigConvEdge = ADC_EXTERNALTRIGCONVEDGE_NONE;
  hadc3.Init.DMAContinuousRequests = DISABLE;
  hadc3.Init.Overrun = ADC_OVR_DATA_PRESERVED;
  hadc3.Init.OversamplingMode = DISABLE;
  if (HAL_ADC_Init(&hadc3) != HAL_OK)
  {
    Error_Handler();
  }

  /** Configure the ADC multi-mode
   */
  multimode.Mode = ADC_MODE_INDEPENDENT;
  if (HAL_ADCEx_MultiModeConfigChannel(&hadc3, &multimode) != HAL_OK)
  {
    Error_Handler();
  }

  /** Configure Regular Channel
   */
  sConfig.Channel = ADC_CHANNEL_12;
  sConfig.Rank = ADC_REGULAR_RANK_1;
  sConfig.SamplingTime = ADC_SAMPLETIME_2CYCLES_5;
  sConfig.SingleDiff = ADC_SINGLE_ENDED;
  sConfig.OffsetNumber = ADC_OFFSET_NONE;
  sConfig.Offset = 0;
  if (HAL_ADC_ConfigChannel(&hadc3, &sConfig) != HAL_OK)
  {
    Error_Handler();
  }
}

static void MX_CRC_Init(void)
{

  hcrc.Instance = CRC;
  hcrc.Init.DefaultPolynomialUse = DEFAULT_POLYNOMIAL_ENABLE;
  hcrc.Init.DefaultInitValueUse = DEFAULT_INIT_VALUE_ENABLE;
  hcrc.Init.InputDataInversionMode = CRC_INPUTDATA_INVERSION_NONE;
  hcrc.Init.OutputDataInversionMode = CRC_OUTPUTDATA_INVERSION_DISABLE;
  hcrc.InputDataFormat = CRC_INPUTDATA_FORMAT_BYTES;
  if (HAL_CRC_Init(&hcrc) != HAL_OK)
  {
    Error_Handler();
  }
}

static void MX_I2C1_Init(void)
{

  hi2c1.Instance = I2C1;
  hi2c1.Init.Timing = 0x108031A0;
  hi2c1.Init.OwnAddress1 = 0;
  hi2c1.Init.AddressingMode = I2C_ADDRESSINGMODE_7BIT;
  hi2c1.Init.DualAddressMode = I2C_DUALADDRESS_DISABLE;
  hi2c1.Init.OwnAddress2 = 0;
  hi2c1.Init.OwnAddress2Masks = I2C_OA2_NOMASK;
  hi2c1.Init.GeneralCallMode = I2C_GENERALCALL_DISABLE;
  hi2c1.Init.NoStretchMode = I2C_NOSTRETCH_DISABLE;
  if (HAL_I2C_Init(&hi2c1) != HAL_OK)
  {
    Error_Handler();
  }

  /** Configure Analogue filter
   */
  if (HAL_I2CEx_ConfigAnalogFilter(&hi2c1, I2C_ANALOGFILTER_DISABLE) != HAL_OK)
  {
    Error_Handler();
  }

  /** Configure Digital filter
   */
  if (HAL_I2CEx_ConfigDigitalFilter(&hi2c1, 0) != HAL_OK)
  {
    Error_Handler();
  }
}

static void MX_TIM1_Init(void)
{

  TIM_ClockConfigTypeDef sClockSourceConfig = {0};
  TIM_MasterConfigTypeDef sMasterConfig = {0};
  TIM_OC_InitTypeDef sConfigOC = {0};
  TIM_BreakDeadTimeConfigTypeDef sBreakDeadTimeConfig = {0};

  htim1.Instance = TIM1;
  htim1.Init.Prescaler = 0;
  htim1.Init.CounterMode = TIM_COUNTERMODE_UP;
  htim1.Init.Period = 169;
  htim1.Init.ClockDivision = TIM_CLOCKDIVISION_DIV1;
  htim1.Init.RepetitionCounter = 0;
  htim1.Init.AutoReloadPreload = TIM_AUTORELOAD_PRELOAD_ENABLE;
  if (HAL_TIM_Base_Init(&htim1) != HAL_OK)
  {
    Error_Handler();
  }
  sClockSourceConfig.ClockSource = TIM_CLOCKSOURCE_INTERNAL;
  if (HAL_TIM_ConfigClockSource(&htim1, &sClockSourceConfig) != HAL_OK)
  {
    Error_Handler();
  }
  if (HAL_TIM_OC_Init(&htim1) != HAL_OK)
  {
    Error_Handler();
  }
  sMasterConfig.MasterOutputTrigger = TIM_TRGO_UPDATE;
  sMasterConfig.MasterOutputTrigger2 = TIM_TRGO2_RESET;
  sMasterConfig.MasterSlaveMode = TIM_MASTERSLAVEMODE_DISABLE;
  if (HAL_TIMEx_MasterConfigSynchronization(&htim1, &sMasterConfig) != HAL_OK)
  {
    Error_Handler();
  }
  sConfigOC.OCMode = TIM_OCMODE_TOGGLE;
  sConfigOC.Pulse = 0;
  sConfigOC.OCPolarity = TIM_OCPOLARITY_HIGH;
  sConfigOC.OCNPolarity = TIM_OCNPOLARITY_HIGH;
  sConfigOC.OCFastMode = TIM_OCFAST_DISABLE;
  sConfigOC.OCIdleState = TIM_OCIDLESTATE_RESET;
  sConfigOC.OCNIdleState = TIM_OCNIDLESTATE_RESET;
  if (HAL_TIM_OC_ConfigChannel(&htim1, &sConfigOC, TIM_CHANNEL_1) != HAL_OK)
  {
    Error_Handler();
  }
  __HAL_TIM_ENABLE_OCxPRELOAD(&htim1, TIM_CHANNEL_1);
  sBreakDeadTimeConfig.OffStateRunMode = TIM_OSSR_DISABLE;
  sBreakDeadTimeConfig.OffStateIDLEMode = TIM_OSSI_DISABLE;
  sBreakDeadTimeConfig.LockLevel = TIM_LOCKLEVEL_OFF;
  sBreakDeadTimeConfig.DeadTime = 0;
  sBreakDeadTimeConfig.BreakState = TIM_BREAK_DISABLE;
  sBreakDeadTimeConfig.BreakPolarity = TIM_BREAKPOLARITY_HIGH;
  sBreakDeadTimeConfig.BreakFilter = 0;
  sBreakDeadTimeConfig.BreakAFMode = TIM_BREAK_AFMODE_INPUT;
  sBreakDeadTimeConfig.Break2State = TIM_BREAK2_DISABLE;
  sBreakDeadTimeConfig.Break2Polarity = TIM_BREAK2POLARITY_HIGH;
  sBreakDeadTimeConfig.Break2Filter = 0;
  sBreakDeadTimeConfig.Break2AFMode = TIM_BREAK_AFMODE_INPUT;
  sBreakDeadTimeConfig.AutomaticOutput = TIM_AUTOMATICOUTPUT_DISABLE;
  if (HAL_TIMEx_ConfigBreakDeadTime(&htim1, &sBreakDeadTimeConfig) != HAL_OK)
  {
    Error_Handler();
  }
  HAL_TIM_MspPostInit(&htim1);
}

static void MX_TIM3_Init(void)
{

  TIM_ClockConfigTypeDef sClockSourceConfig = {0};
  TIM_MasterConfigTypeDef sMasterConfig = {0};
  TIM_OC_InitTypeDef sConfigOC = {0};

  htim3.Instance = TIM3;
  htim3.Init.Prescaler = 9;
  htim3.Init.CounterMode = TIM_COUNTERMODE_UP;
  htim3.Init.Period = 99;
  htim3.Init.ClockDivision = TIM_CLOCKDIVISION_DIV1;
  htim3.Init.AutoReloadPreload = TIM_AUTORELOAD_PRELOAD_ENABLE;
  if (HAL_TIM_Base_Init(&htim3) != HAL_OK)
  {
    Error_Handler();
  }
  sClockSourceConfig.ClockSource = TIM_CLOCKSOURCE_INTERNAL;
  if (HAL_TIM_ConfigClockSource(&htim3, &sClockSourceConfig) != HAL_OK)
  {
    Error_Handler();
  }
  if (HAL_TIM_OC_Init(&htim3) != HAL_OK)
  {
    Error_Handler();
  }
  sMasterConfig.MasterOutputTrigger = TIM_TRGO_RESET;
  sMasterConfig.MasterSlaveMode = TIM_MASTERSLAVEMODE_DISABLE;
  if (HAL_TIMEx_MasterConfigSynchronization(&htim3, &sMasterConfig) != HAL_OK)
  {
    Error_Handler();
  }
  sConfigOC.OCMode = TIM_OCMODE_TOGGLE;
  sConfigOC.Pulse = 0;
  sConfigOC.OCPolarity = TIM_OCPOLARITY_HIGH;
  sConfigOC.OCFastMode = TIM_OCFAST_DISABLE;
  if (HAL_TIM_OC_ConfigChannel(&htim3, &sConfigOC, TIM_CHANNEL_1) != HAL_OK)
  {
    Error_Handler();
  }
  __HAL_TIM_ENABLE_OCxPRELOAD(&htim3, TIM_CHANNEL_1);
  if (HAL_TIM_OC_ConfigChannel(&htim3, &sConfigOC, TIM_CHANNEL_2) != HAL_OK)
  {
    Error_Handler();
  }
  __HAL_TIM_ENABLE_OCxPRELOAD(&htim3, TIM_CHANNEL_2);
  /* USER CODE BEGIN TIM3_Init 2 */

  HAL_TIM_Base_Start(&htim3);
  HAL_TIM_OC_Start_IT(&htim3, TIM_CHANNEL_1);
  HAL_TIM_OC_Start(&htim3, TIM_CHANNEL_2);

  /* USER CODE END TIM3_Init 2 */
  HAL_TIM_MspPostInit(&htim3);
}

static void MX_USART2_UART_Init(void)
{

  huart2.Instance = USART2;
  huart2.Init.BaudRate = 115200;
  huart2.Init.WordLength = UART_WORDLENGTH_8B;
  huart2.Init.StopBits = UART_STOPBITS_1;
  huart2.Init.Parity = UART_PARITY_NONE;
  huart2.Init.Mode = UART_MODE_TX_RX;
  huart2.Init.HwFlowCtl = UART_HWCONTROL_NONE;
  huart2.Init.OverSampling = UART_OVERSAMPLING_16;
  huart2.Init.OneBitSampling = UART_ONE_BIT_SAMPLE_DISABLE;
  huart2.Init.ClockPrescaler = UART_PRESCALER_DIV1;
  huart2.AdvancedInit.AdvFeatureInit = UART_ADVFEATURE_NO_INIT;
  if (HAL_UART_Init(&huart2) != HAL_OK)
  {
    Error_Handler();
  }
  if (HAL_UARTEx_SetTxFifoThreshold(&huart2, UART_TXFIFO_THRESHOLD_1_8) != HAL_OK)
  {
    Error_Handler();
  }
  if (HAL_UARTEx_SetRxFifoThreshold(&huart2, UART_RXFIFO_THRESHOLD_1_8) != HAL_OK)
  {
    Error_Handler();
  }
  if (HAL_UARTEx_DisableFifoMode(&huart2) != HAL_OK)
  {
    Error_Handler();
  }
}

static void MX_DMA_Init(void)
{

  /* DMA controller clock enable */
  __HAL_RCC_DMAMUX1_CLK_ENABLE();
  __HAL_RCC_DMA1_CLK_ENABLE();
  __HAL_RCC_DMA2_CLK_ENABLE();

  /* DMA interrupt init */
  /* DMA1_Channel1_IRQn interrupt configuration */
  HAL_NVIC_SetPriority(DMA1_Channel1_IRQn, 0, 0);
  HAL_NVIC_EnableIRQ(DMA1_Channel1_IRQn);
  /* DMA2_Channel1_IRQn interrupt configuration */
  HAL_NVIC_SetPriority(DMA2_Channel1_IRQn, 0, 0);
  HAL_NVIC_EnableIRQ(DMA2_Channel1_IRQn);
}

static void MX_GPIO_Init(void)
{
  GPIO_InitTypeDef GPIO_InitStruct = {0};

  /* GPIO Ports Clock Enable */
  __HAL_RCC_GPIOC_CLK_ENABLE();
  __HAL_RCC_GPIOF_CLK_ENABLE();
  __HAL_RCC_GPIOA_CLK_ENABLE();
  __HAL_RCC_GPIOB_CLK_ENABLE();

  /*Configure GPIO pin Output Level */
  HAL_GPIO_WritePin(LD2_GPIO_Port, LD2_Pin, GPIO_PIN_RESET);

  /*Configure GPIO pin : B1_Pin */
  GPIO_InitStruct.Pin = B1_Pin;
  GPIO_InitStruct.Mode = GPIO_MODE_IT_RISING;
  GPIO_InitStruct.Pull = GPIO_NOPULL;
  HAL_GPIO_Init(B1_GPIO_Port, &GPIO_InitStruct);

  /*Configure GPIO pin : LD2_Pin */
  GPIO_InitStruct.Pin = LD2_Pin;
  GPIO_InitStruct.Mode = GPIO_MODE_OUTPUT_PP;
  GPIO_InitStruct.Pull = GPIO_NOPULL;
  GPIO_InitStruct.Speed = GPIO_SPEED_FREQ_LOW;
  HAL_GPIO_Init(LD2_GPIO_Port, &GPIO_InitStruct);

  /* EXTI interrupt init*/
  HAL_NVIC_SetPriority(EXTI15_10_IRQn, 0, 0);
  HAL_NVIC_EnableIRQ(EXTI15_10_IRQn);

}

/* USER CODE BEGIN 4 */
void HAL_TIM_OC_DelayElapsedCallback(TIM_HandleTypeDef *htim)
{
  if (htim->Instance == TIM3 && htim->Channel == HAL_TIM_ACTIVE_CHANNEL_1)
  {
    if (PRBS_ACTIVE)
    {
      int8_t noise = PRBS();
      htim->Instance->CCR2 = PHASE_SHIFT + noise * PRBS_AMPLITUDE;
    }
    else
      htim->Instance->CCR2 = PHASE_SHIFT;
  }
}

int8_t PRBS()
{
  static uint16_t current_val = 1;
  static uint16_t counter = 0;
  current_val = ((current_val << 1) | (((current_val >> 9) ^ (current_val >> 6)) & 0x1)) & 0x3FF;
  counter += 1;

  if (counter == PRBS_period - 2)
  {

    NOISE_ACTIVE = 1;
    HAL_TIM_Base_Start(&htim1);
    HAL_TIM_OC_Start(&htim1, TIM_CHANNEL_1);
    HAL_ADC_Start_DMA(&hadc1, (int16_t *)raw_current_sig, SIG_BUFF_LEN + OFFSET + 15); // Warning are normal here
    HAL_ADC_Start_DMA(&hadc2, (int16_t *)raw_voltage_sig, SIG_BUFF_LEN + OFFSET + 15); // Warning are normal here

  }
  if (counter == 2 * PRBS_period)
  {
    counter = 0;
    HAL_TIM_OC_Stop(&htim1, TIM_CHANNEL_1);
    HAL_TIM_Base_Stop(&htim1);
    PRBS_ACTIVE = 0;
    NOISE_ACTIVE = 0;
    COMPUTE_ACTIVE = 1;
  }

  return (current_val & 0x1) * 2 - 1;
}

void HAL_ADC_ConvCpltCallback(ADC_HandleTypeDef *hadc)
{
  HAL_ADC_Stop_DMA(hadc);
}

int aiInit(void)
{
  ai_error err;

  /* Create and initialize the c-model */
  const ai_handle acts[] = {activations};
  err = ai_network_create_and_init(&network, acts, NULL);
  if (err.type != AI_ERROR_NONE)
  {
    Error_Handler();
  }

  /* Reteive pointers to the model's input/output tensors */
  ai_input = ai_network_inputs_get(network, NULL);
  ai_output = ai_network_outputs_get(network, NULL);

  return 0;
}

int aiRun(const void *in_data, void *out_data)
{
  ai_i32 n_batch;
  ai_error err;

  /* 1 - Update IO handlers with the data payload */
  ai_input[0].data = AI_HANDLE_PTR(in_data);
  ai_output[0].data = AI_HANDLE_PTR(out_data);

  /* 2 - Perform the inference */
  n_batch = ai_network_run(network, &ai_input[0], &ai_output[0]);
  if (n_batch != 1)
  {
    err = ai_network_get_error(network);
    return err.code;
  };

  return 0;
}

float_t delinearize_R(float_t R_lin)
{
  float_t R = pow(10, R_lin * 0.1);
  return R;
}

float_t delinearize_M(float_t M_lin)
{
  float_t M = pow(10, (M_lin * 0.1)) * (0.1 * SQRT_L1L2_uH);
  return M;
}

u8x8_msg_cb u8x8_stm32_gpio_and_delay(u8x8_t *u8x8, uint8_t msg, uint8_t arg_int, void *arg_ptr)
{
  switch (msg)
  {
  case U8X8_MSG_GPIO_AND_DELAY_INIT:
    HAL_Delay(1);
    break;
  case U8X8_MSG_DELAY_MILLI:
    HAL_Delay(arg_int);
    break;
  case U8X8_MSG_GPIO_DC:
    break;
  case U8X8_MSG_GPIO_RESET:
    break;
  }
  return (u8x8_msg_cb)1;
}

u8x8_msg_cb u8x8_byte_stm32_hw_i2c(u8x8_t *u8x8, uint8_t msg, uint8_t arg_int, void *arg_ptr)
{
  /* u8g2/u8x8 will never send more than 32 bytes between START_TRANSFER and END_TRANSFER */
  /* add extra byte for the i2c address */
  static uint8_t buffer[34];
  static uint8_t buf_idx;
  uint8_t *data;
  switch (msg)
  {
  case U8X8_MSG_BYTE_SEND:
    data = (uint8_t *)arg_ptr;
    while (arg_int > 0)
    {
      buffer[buf_idx++] = *data;
      data++;
      arg_int--;
    }

    break;
  case U8X8_MSG_BYTE_INIT:
    break;
  case U8X8_MSG_BYTE_SET_DC:
    break;
  case U8X8_MSG_BYTE_START_TRANSFER:
    buf_idx = 0;
    break;
  case U8X8_MSG_BYTE_END_TRANSFER:
    while (HAL_I2C_STATE_READY != hi2c1.State)
      ;
    HAL_I2C_Master_Transmit(&hi2c1, DEVICE_ADDRESS << 1, (uint8_t *)buffer, buf_idx, HAL_TIMEOUT);

    break;
  default:
    return 0;
  }
  return (u8x8_msg_cb)1;
}

void display_oled(float_t R, float_t M)
{
  if ((R < 500) & (R > 0) & (M > 0) & (M < SQRT_L1L2_uH))
  {
    char line_1[20];
    char line_2[20];
    sprintf(line_1, "R_l : %.2f Ohm", R);
    sprintf(line_2, "M   : %.2f uH", M);
    u8g2_ClearDisplay(&u8g2);

    do
    {
      u8g2_SetFont(&u8g2, u8g2_font_7x14_mf);
      u8g2_DrawStr(&u8g2, 0, 30, "Estimation :");
      u8g2_DrawStr(&u8g2, 0, 50 - 6, line_1);
      u8g2_DrawStr(&u8g2, 0, 64 - 6, line_2);
      u8g2_SetFont(&u8g2, u8g2_font_6x13_mf);
      u8g2_DrawStr(&u8g2, 0, 14, "Press USER to restart");

    } while (u8g2_NextPage(&u8g2));
  }
  else
  {
    u8g2_ClearDisplay(&u8g2);
    do
    {
      u8g2_SetFont(&u8g2, u8g2_font_7x14_mf);
      u8g2_DrawStr(&u8g2, 40, 30, "Error...");
      u8g2_DrawStr(&u8g2, 10, 50 - 6, "Estimated values");
      u8g2_DrawStr(&u8g2, 25, 64 - 6, "out of range");
      u8g2_SetFont(&u8g2, u8g2_font_6x13_mf);
      u8g2_DrawStr(&u8g2, 0, 14, "Press USER to restart");

    } while (u8g2_NextPage(&u8g2));
  }
}

/* USER CODE END 4 */

void Error_Handler(void)
{
  /* USER CODE BEGIN Error_Handler_Debug */
  /* User can add his own implementation to report the HAL error return state */
  __disable_irq();
  while (1)
  {
    HAL_GPIO_WritePin(LD2_GPIO_Port, LD2_Pin, ENABLE);
    HAL_Delay(500);
    HAL_GPIO_WritePin(LD2_GPIO_Port, LD2_Pin, DISABLE);
    HAL_Delay(500);
    HAL_GPIO_WritePin(LD2_GPIO_Port, LD2_Pin, ENABLE);
    HAL_Delay(500);
    HAL_GPIO_WritePin(LD2_GPIO_Port, LD2_Pin, DISABLE);
    HAL_Delay(500);
    HAL_GPIO_WritePin(LD2_GPIO_Port, LD2_Pin, ENABLE);
    HAL_Delay(500);
    HAL_GPIO_WritePin(LD2_GPIO_Port, LD2_Pin, DISABLE);
    HAL_Delay(500);

    HAL_GPIO_WritePin(LD2_GPIO_Port, LD2_Pin, ENABLE);
    HAL_Delay(250);
    HAL_GPIO_WritePin(LD2_GPIO_Port, LD2_Pin, DISABLE);
    HAL_Delay(250);
    HAL_GPIO_WritePin(LD2_GPIO_Port, LD2_Pin, ENABLE);
    HAL_Delay(250);
    HAL_GPIO_WritePin(LD2_GPIO_Port, LD2_Pin, DISABLE);
    HAL_Delay(250);
    HAL_GPIO_WritePin(LD2_GPIO_Port, LD2_Pin, ENABLE);
    HAL_Delay(250);
    HAL_GPIO_WritePin(LD2_GPIO_Port, LD2_Pin, DISABLE);
    HAL_Delay(250);

    HAL_GPIO_WritePin(LD2_GPIO_Port, LD2_Pin, ENABLE);
    HAL_Delay(500);
    HAL_GPIO_WritePin(LD2_GPIO_Port, LD2_Pin, DISABLE);
    HAL_Delay(500);
    HAL_GPIO_WritePin(LD2_GPIO_Port, LD2_Pin, ENABLE);
    HAL_Delay(500);
    HAL_GPIO_WritePin(LD2_GPIO_Port, LD2_Pin, DISABLE);
    HAL_Delay(500);
    HAL_GPIO_WritePin(LD2_GPIO_Port, LD2_Pin, ENABLE);
    HAL_Delay(500);
    HAL_GPIO_WritePin(LD2_GPIO_Port, LD2_Pin, DISABLE);
    HAL_Delay(500);
  }
  /* USER CODE END Error_Handler_Debug */
}
